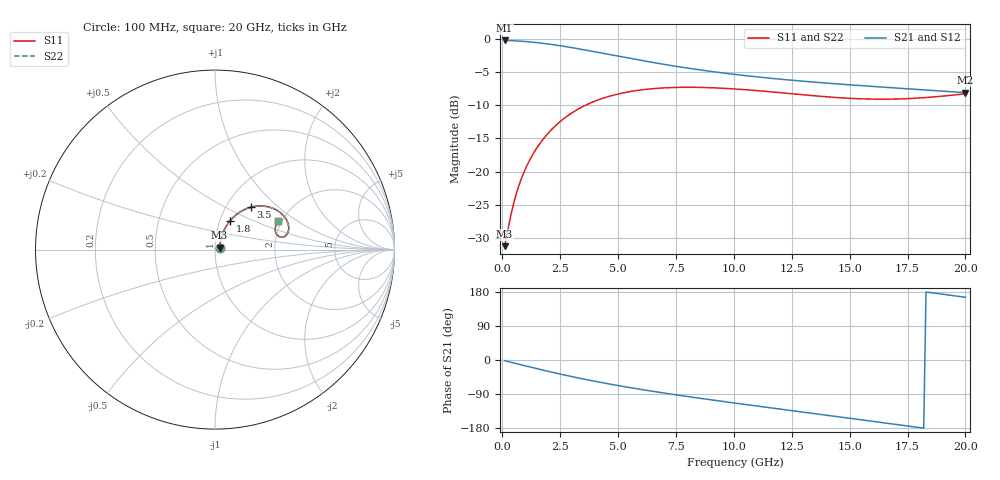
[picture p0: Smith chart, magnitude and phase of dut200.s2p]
! Touchstone file exported from HFSS 2024.1.0
!  File:  C:/UserFiles/LocalFiles/RDL_TSV_Batchsim/temp_RDL_TSV_200_1779443590.aedt
!  Generated:  06:08:12 PM May 22, 2026
!  Design:  RDL_TSV
!  Project:  temp_RDL_TSV_200_1779443590
!  Setup:  Setup1
!  Solution:  Sweep
! Variables:
!  dtsv = 6.28um
!  hbump = 3um
!  htsv = 54.57um
!  ldown = 122.39um
!  lrdl = 670.71um
!  p = 40
!  p1 = 42.09um
!  rhole = 10um
!  subl = 3050.01um
!  t = 450um
!  tdown = 2.41um
!  trdl = 4.11um
!  viad = 10um
!  wdown = 21.91um
!  wrdl = 10.32um
!  xbump = 18um
# GHz S MA R 50.000000
! Terminal data exported
! Port[1] = TM1_1_T1
! Port[2] = TM1_4_T1
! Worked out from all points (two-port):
!   200 points, 100 MHz to 20 GHz, reference 50 ohm
!   highest |S21| = -0.22 dB at 100 MHz (marker M1); lowest = -8.1 dB at 20 GHz (marker M2)
!   |S21| within 3 dB of the highest: start of sweep to 5.978 GHz
!   lowest |S11| = -31.3 dB at 100 MHz (marker M3), VSWR 1.06, Z = 52.6 + j1.08 ohm
!   |S11| at or under -10 dB: start of sweep to 3.592 GHz
!   |S22| runs from -31.3 to -7.3 dB; largest |S21 - S12| = 6.7e-14
!   S11 on the Smith chart (normalised r, x): 100 MHz: 1.05, +0.02; 1.8 GHz: 1.12, +0.37; 3.5 GHz: 1.30, +0.68; 20 GHz: 1.92, +0.71
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0.1  0.02737 22.0  0.9746 -1.6  0.9746 -1.6  0.02737 22.0
! Gamma 0 0 0 0
! Port Impedance 50 0 50 0
0.4  0.04945 53.7  0.9712 -6.3  0.9712 -6.3  0.04945 53.7
0.5  0.05839 57.7  0.9694 -7.9  0.9694 -7.9  0.05839 57.7
0.8  0.08612 63.2  0.9627 -12.5  0.9627 -12.5  0.08612 63.2
1.2  0.1236 64.6  0.9505 -18.5  0.9505 -18.5  0.1236 64.6
1.5  0.1514 63.9  0.939 -23.0  0.939 -23.0  0.1514 63.9
1.8  0.1787 62.5  0.9257 -27.3  0.9257 -27.3  0.1786 62.5
2.2  0.2135 59.9  0.9058 -33.0  0.9058 -33.0  0.2135 59.9
2.6  0.2463 56.9  0.8838 -38.5  0.8838 -38.5  0.2463 56.9
3.5  0.3105 49.6  0.8306 -50.1  0.8306 -50.1  0.3104 49.6
4.2  0.3502 44.0  0.7883 -58.5  0.7883 -58.5  0.3501 44.0
4.9  0.3809 38.7  0.7475 -66.4  0.7475 -66.4  0.3808 38.7
5.8  0.4084 32.5  0.699 -75.8  0.699 -75.8  0.4082 32.5
6.8  0.4257 26.6  0.6513 -85.5  0.6513 -85.5  0.4255 26.5
8.4  0.4317 19.0  0.589 -99.9  0.589 -99.9  0.4316 19.0
10.1  0.4192 13.6  0.5389 -114.2  0.5389 -114.2  0.4191 13.6
11.7  0.3981 10.9  0.5032 -127.2  0.5032 -127.2  0.3981 10.9
13.4  0.3739 10.7  0.4738 -140.8  0.4738 -140.8  0.3739 10.7
15.1  0.356 13.1  0.4498 -154.5  0.4498 -154.5  0.3561 13.1
16.7  0.3516 17.0  0.4302 -167.5  0.4302 -167.5  0.3516 16.9
18.3  0.3618 21.1  0.412 179.4  0.412 179.4  0.3617 21.0
20  0.3861 24.1  0.3934 165.6  0.3934 165.6  0.3858 24.0
